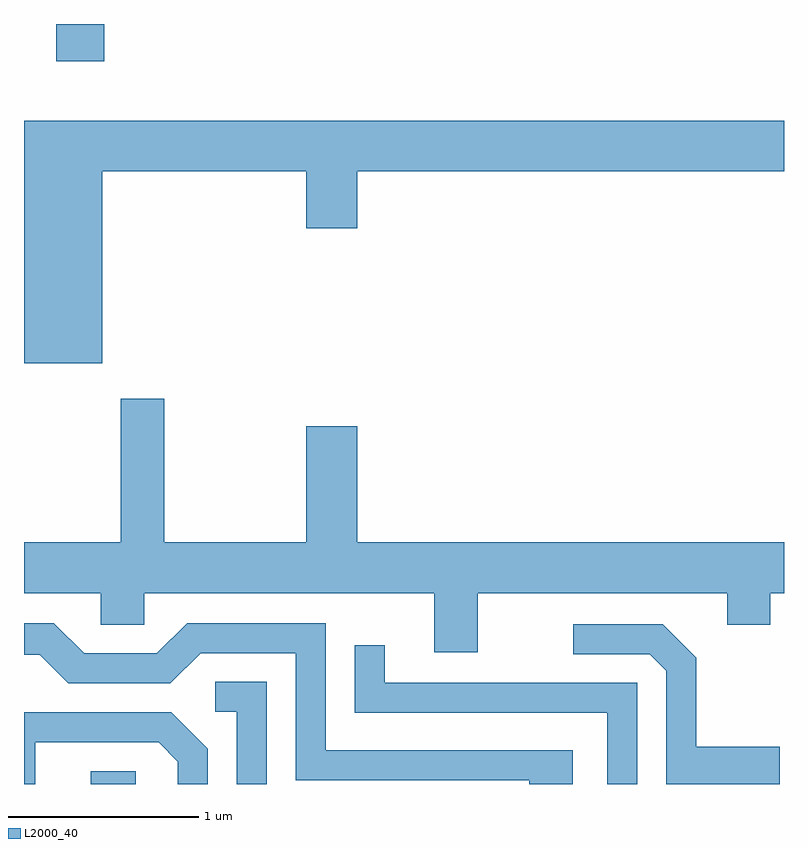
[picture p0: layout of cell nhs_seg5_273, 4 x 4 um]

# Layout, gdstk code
import gdstk
lib = gdstk.Library(unit=1e-6, precision=1e-09)
def R(c, l, rs):  # rectangles x0, y0, x1, y1
    for r in rs: c.add(gdstk.rectangle(r[:2], r[2:], *l))
def P(c, l, *ps):  # polygons
    for p in ps: c.add(gdstk.Polygon(p, *l))
L2000_40 = (2000, 40)

nhs_seg5_273 = lib.new_cell('nhs_seg5_273')
R(nhs_seg5_273, L2000_40, [(193.961,1398.072,194.199,1398.139), (193.781,1401.876,194.034,1402.072)])
P(nhs_seg5_273, L2000_40, [(194.024,1401.296),(195.096,1401.296),(195.096,1400.996),(195.364,1400.996),(195.364,1401.296),(197.611,1401.296),(197.611,1401.564),(193.611,1401.564),(193.611,1400.286),(194.024,1400.286)],
  [(195.999,1399.076),(197.311,1399.076),(197.311,1398.911),(197.539,1398.911),(197.539,1399.076),(197.611,1399.076),(197.611,1399.344),(195.364,1399.344),(195.364,1399.954),(195.096,1399.954),(195.096,1399.344),(194.349,1399.344),(194.349,1400.099),(194.121,1400.099),(194.121,1399.344),(193.611,1399.344),(193.611,1399.076),(194.016,1399.076),(194.016,1398.911),(194.244,1398.911),(194.244,1399.076),(195.771,1399.076),(195.771,1398.766),(195.999,1398.766)],
  [(196.499,1398.249),(195.199,1398.249),(195.199,1398.919),(194.469,1398.919),(194.309,1398.759),(193.927,1398.759),(193.767,1398.919),(193.611,1398.919),(193.611,1398.751),(193.694,1398.751),(193.844,1398.601),(194.382,1398.601),(194.542,1398.761),(195.041,1398.761),(195.041,1398.091),(196.271,1398.091),(196.271,1398.072),(196.499,1398.072)],
  [(197.589,1398.269),(197.149,1398.269),(197.149,1398.737),(196.972,1398.914),(196.503,1398.914),(196.503,1398.756),(196.904,1398.756),(196.991,1398.669),(196.991,1398.072),(197.589,1398.072)],
  [(196.839,1398.604),(195.509,1398.604),(195.509,1398.803),(195.351,1398.803),(195.351,1398.446),(196.681,1398.446),(196.681,1398.072),(196.839,1398.072)],
  [(194.889,1398.609),(194.618,1398.609),(194.618,1398.451),(194.731,1398.451),(194.731,1398.072),(194.889,1398.072)],
  [(193.669,1398.291),(194.319,1398.291),(194.421,1398.189),(194.421,1398.072),(194.579,1398.072),(194.579,1398.257),(194.387,1398.449),(193.611,1398.449),(193.611,1398.072),(193.669,1398.072)])

lib.write_gds('nhs_seg5_273.gds')
